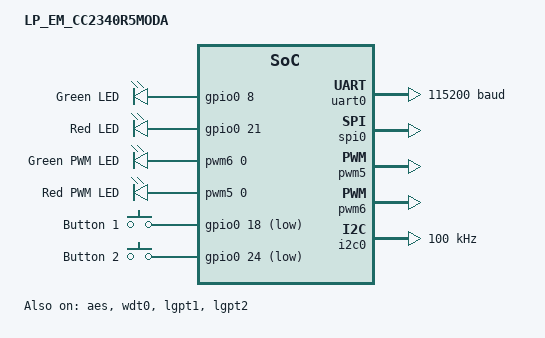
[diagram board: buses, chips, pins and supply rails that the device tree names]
/*
 * Copyright (c) 2025 Texas Instruments Incorporated
 *
 * SPDX-License-Identifier: Apache-2.0
 */

/dts-v1/;

#include <ti/cc2340r5.dtsi>
#include "boosterpack_connector.dtsi"
#include "lp_em_cc2340r5moda-pinctrl.dtsi"
#include <zephyr/dt-bindings/gpio/gpio.h>
#include <zephyr/dt-bindings/pwm/pwm.h>
#include <zephyr/dt-bindings/input/input-event-codes.h>

/ {
	model = "LP_EM_CC2340R5MODA";
	compatible = "ti,lp_em_cc2340r5moda";

	chosen {
		zephyr,sram = &sram0;
		zephyr,flash = &flash0;
		zephyr,code-partition = &slot0_partition;
		zephyr,console = &uart0;
		zephyr,shell-uart = &uart0;
	};

	aliases {
		led0 = &led0;
		led1 = &led1;
		sw0 = &btn0;
		sw1 = &btn1;
		watchdog0 = &wdt0;
		pwm-led0 = &pwm_green;
		pwm-led1 = &pwm_red;
	};

	leds {
		compatible = "gpio-leds";

		led0: led_0 {
			gpios = <&gpio0 8 GPIO_ACTIVE_HIGH>;
			label = "Green LED";
		};

		led1: led_1 {
			gpios = <&gpio0 21 GPIO_ACTIVE_HIGH>;
			label = "Red LED";
		};
	};

	pwmleds {
		compatible = "pwm-leds";

		pwm_green: pwm_led_0 {
			pwms = <&pwm6 0 1000 PWM_POLARITY_NORMAL>;
			label = "Green PWM LED";
		};

		pwm_red: pwm_led_1 {
			pwms = <&pwm5 0 1000 PWM_POLARITY_NORMAL>;
			label = "Red PWM LED";
		};
	};

	keys {
		compatible = "gpio-keys";

		btn0: btn_0 {
			gpios = <&gpio0 18 (GPIO_ACTIVE_LOW | GPIO_PULL_UP)>;
			label = "Button 1";
			zephyr,code = <INPUT_KEY_0>;
		};

		btn1: btn_1 {
			gpios = <&gpio0 24 (GPIO_ACTIVE_LOW | GPIO_PULL_UP)>;
			label = "Button 2";
			zephyr,code = <INPUT_KEY_1>;
		};
	};

	lfxosc: lf_xosc {
		compatible = "ti,cc23x0-lf-xosc";
	};
};

&gpio0 {
	status = "okay";
};

&uart0 {
	status = "okay";
	current-speed = <115200>;
	pinctrl-0 = <&uart0_rx_default &uart0_tx_default>;
	pinctrl-names = "default";
};

&aes {
	status = "okay";
};

&dma {
	status = "okay";
};

&spi0 {
	status = "okay";
	pinctrl-0 = <&spi0_sck_default
		     &spi0_mosi_default
		     &spi0_miso_default
		     &spi0_cs_default>;
	pinctrl-names = "default";
};

&wdt0 {
	status = "okay";
};

&lgpt1 {
	clk-prescale = <0>;
	status = "okay";
};

&lgpt2 {
	clk-prescale = <0>;
	status = "okay";
};

&pwm5 {
	pinctrl-0 = <&pwm5_default>;
	pinctrl-names = "default";
	status = "okay";
};

&pwm6 {
	pinctrl-0 = <&pwm6_default>;
	pinctrl-names = "default";
	status = "okay";
};

&i2c0 {
	status = "okay";
	pinctrl-0 = <&i2c0_scl_default
		     &i2c0_sda_default>;
	clock-frequency = <100000>;
	pinctrl-names = "default";
};
